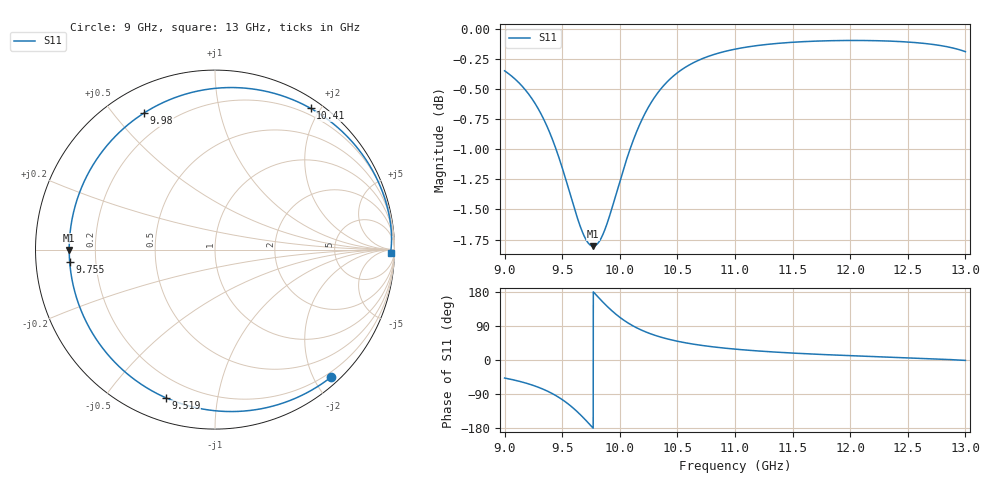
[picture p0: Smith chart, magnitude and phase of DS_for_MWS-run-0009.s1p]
! TOUCHSTONE file generated by CST DESIGN STUDIO
! Date and time: Tue Feb  4 18:12:29 2025
! Project name: C:\Work\MatlabApps\UnitCellOptimizationMatlab\CST\unitcell.cst
! Tree item: Tasks\Sweep1\SPara1\S-Parameters
! Header version: 2024
! Port assignment regex: !\s*Touchstone port\s*([0-9]+)\s*=\s*(CST MWS port|CST DES external port|CST DES block port)\s*(.+)\s* \(\"(.*)\"\)(\s*mode\s*([0-9]+))?.*
! Touchstone port assignment:
! Touchstone port 1 = CST DES external port 1 ("")
# GHz S MA R 50
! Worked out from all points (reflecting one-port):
!   4001 points, 9 GHz to 13 GHz, reference 50 ohm
!   lowest |S11| = -1.8 dB at 9.769 GHz (marker M1), VSWR 9.66, Z = 5.18 - j0.0441 ohm
!   phase of S11 starts at -48 deg and turns -313 deg over the sweep
!   S11 on the Smith chart (normalised r, x): 9 GHz: 0.12, -2.26; 9.519 GHz: 0.11, -0.72; 9.755 GHz: 0.10, -0.04; 9.98 GHz: 0.10, +0.60; 10.41 GHz: 0.12, +1.88; 13 GHz: 53, -45
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9  0.9606 -47.6
9.14  0.948 -57.2
9.269  0.9303 -69.2
9.4  0.9035 -86.4
9.5  0.8756 -104.4
9.519  0.8697 -108.5
9.576  0.8516 -121.8
9.631  0.8348 -136.6
9.697  0.8191 -156.5
9.755  0.8126 -175.3
9.769  0.8124 -179.9
9.813  0.815 165.6
9.86  0.823 150.7
9.921  0.8391 132.7
9.98  0.8577 117.4
10  0.8642 112.7
10.043  0.8778 103.3
10.09  0.8916 94.3
10.2  0.9185 77.3
10.3  0.9364 65.7
10.409  0.9503 55.9
10.5  0.9588 49.5
10.718  0.9719 38.2
11  0.9807 28.7
11.5  0.9872 18.3
12  0.9889 11.5
12.5  0.9874 5.7
13  0.9784 -1.1
